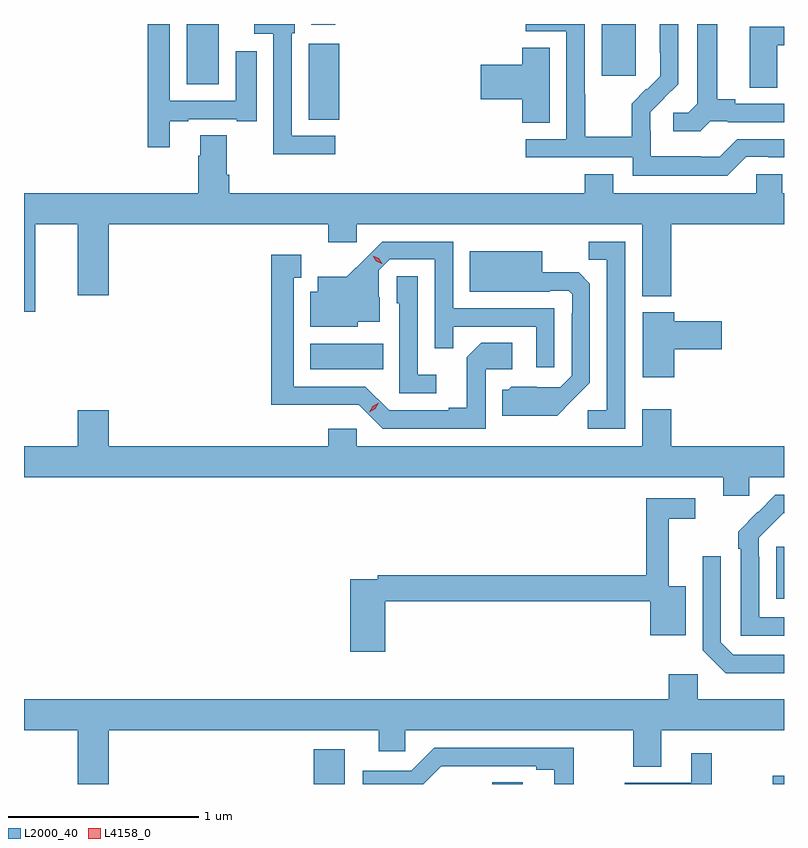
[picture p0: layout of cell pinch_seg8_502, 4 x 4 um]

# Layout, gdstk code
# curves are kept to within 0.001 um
import gdstk
lib = gdstk.Library(unit=1e-6, precision=1e-09)
def R(c, l, rs):  # rectangles x0, y0, x1, y1
    for r in rs: c.add(gdstk.rectangle(r[:2], r[2:], *l))
def P(c, l, *ps):  # polygons
    for p in ps: c.add(gdstk.Polygon(p, *l))
L2000_40 = (2000, 40)
L4158_0 = (4158, 0)

pinch_seg8_502 = lib.new_cell('pinch_seg8_502')
R(pinch_seg8_502, L2000_40, [(202.214,1113.554,202.378,1113.736), (203.154,1113.554,203.314,1113.563), (204.63,1113.554,204.689,1113.598), (204.647,1114.529,204.689,1114.804), (202.196,1115.738,202.58,1115.872), (202.187,1117.051,202.349,1117.45), (201.545,1117.238,201.715,1117.554), (203.729,1117.281,203.908,1117.554), (202.202,1117.551,202.328,1117.554)])
P(pinch_seg8_502, L2000_40, [(204.3,1117.041),(204.394,1117.041),(204.394,1117.038),(204.689,1117.038),(204.689,1117.134),(204.433,1117.134),(204.433,1117.157),(204.337,1117.157),(204.337,1117.554),(204.233,1117.554),(204.233,1117.133),(204.186,1117.086),(204.105,1117.086),(204.105,1116.989),(204.248,1116.989)],
  [(204.489,1116.855),(204.605,1116.855),(204.605,1116.852),(204.689,1116.852),(204.689,1116.948),(204.444,1116.948),(204.351,1116.855),(204.251,1116.855),(204.251,1116.859),(203.988,1116.859),(203.988,1116.993),(203.986,1116.993),(203.986,1117.09),(204.132,1117.238),(204.132,1117.554),(204.036,1117.554),(204.036,1117.402),(204.038,1117.402),(204.038,1117.28),(203.967,1117.209),(203.964,1117.212),(203.887,1117.135),(203.887,1116.961),(203.643,1116.961),(203.643,1117.184),(203.64,1117.184),(203.64,1117.554),(203.331,1117.554),(203.331,1117.515),(203.544,1117.515),(203.544,1116.948),(203.331,1116.948),(203.331,1116.852),(203.892,1116.852),(203.892,1116.755),(204.389,1116.755)],
  [(202.327,1116.966),(202.098,1116.966),(202.098,1117.506),(202.114,1117.506),(202.114,1117.554),(201.902,1117.554),(201.902,1117.502),(202.002,1117.502),(202.002,1116.869),(202.327,1116.869)],
  [(201.457,1117.041),(201.553,1117.041),(201.553,1117.053),(201.809,1117.053),(201.809,1117.041),(201.913,1117.041),(201.913,1117.411),(201.803,1117.411),(201.803,1117.149),(201.456,1117.149),(201.456,1117.554),(201.34,1117.554),(201.34,1116.906),(201.457,1116.906)],
  [(204.654,1117.443),(204.689,1117.443),(204.689,1117.539),(204.509,1117.539),(204.509,1117.219),(204.654,1117.219)],
  [(203.455,1117.43),(203.312,1117.43),(203.312,1117.34),(203.094,1117.34),(203.094,1117.157),(203.312,1117.157),(203.312,1117.033),(203.455,1117.033)],
  [(200.749,1116.5),(200.972,1116.5),(200.972,1116.126),(201.136,1116.126),(201.136,1116.5),(202.289,1116.5),(202.289,1116.405),(202.44,1116.405),(202.44,1116.5),(203.942,1116.5),(203.942,1116.122),(204.095,1116.122),(204.095,1116.5),(204.689,1116.5),(204.689,1116.664),(204.681,1116.664),(204.681,1116.762),(204.543,1116.762),(204.543,1116.664),(203.791,1116.664),(203.791,1116.763),(203.639,1116.763),(203.639,1116.664),(201.77,1116.664),(201.77,1116.76),(201.757,1116.76),(201.757,1116.968),(201.617,1116.968),(201.617,1116.86),(201.605,1116.86),(201.605,1116.664),(200.689,1116.664),(200.689,1116.039),(200.749,1116.039)],
  [(203.481,1116.057),(202.947,1116.057),(202.947,1116.408),(202.574,1116.408),(202.387,1116.223),(202.235,1116.223),(202.235,1116.145),(202.196,1116.145),(202.196,1115.96),(202.446,1115.96),(202.446,1115.987),(202.561,1115.987),(202.561,1116.116),(202.557,1116.116),(202.557,1116.258),(202.614,1116.315),(202.851,1116.315),(202.851,1115.848),(202.949,1115.848),(202.949,1115.961),(203.385,1115.961),(203.385,1115.748),(203.481,1115.748)],
  [(203.853,1116.408),(203.662,1116.408),(203.662,1116.313),(203.757,1116.313),(203.757,1115.52),(203.655,1115.52),(203.655,1115.424),(203.853,1115.424)],
  [(203.575,1115.573),(203.667,1115.666),(203.667,1116.188),(203.608,1116.247),(203.416,1116.247),(203.416,1116.358),(203.036,1116.358),(203.036,1116.146),(203.456,1116.146),(203.456,1116.15),(203.556,1116.15),(203.574,1116.132),(203.574,1116.032),(203.571,1116.032),(203.571,1115.703),(203.511,1115.643),(203.254,1115.644),(203.238,1115.628),(203.207,1115.628),(203.207,1115.492),(203.495,1115.492)],
  [(203.118,1115.736),(203.26,1115.736),(203.26,1115.876),(203.095,1115.876),(203.019,1115.8),(203.019,1115.533),(202.925,1115.533),(202.925,1115.52),(202.611,1115.52),(202.485,1115.646),(202.108,1115.646),(202.108,1116.219),(202.147,1116.219),(202.147,1116.34),(201.99,1116.34),(201.99,1115.549),(202.452,1115.55),(202.578,1115.424),(203.118,1115.424)],
  [(202.858,1115.707),(202.761,1115.707),(202.761,1116.227),(202.65,1116.227),(202.65,1116.084),(202.665,1116.084),(202.665,1115.61),(202.858,1115.61)],
  [(204.112,1115.843),(204.361,1115.843),(204.361,1115.99),(204.112,1115.99),(204.112,1116.037),(203.945,1116.037),(203.945,1115.694),(204.112,1115.694)],
  [(204.507,1115.168),(204.689,1115.168),(204.689,1115.332),(204.095,1115.332),(204.095,1115.527),(203.942,1115.527),(203.942,1115.332),(202.44,1115.332),(202.44,1115.425),(202.289,1115.425),(202.289,1115.332),(201.136,1115.332),(201.136,1115.521),(200.972,1115.521),(200.972,1115.332),(200.689,1115.332),(200.689,1115.168),(204.368,1115.168),(204.368,1115.07),(204.507,1115.07)],
  [(204.689,1114.431),(204.558,1114.431),(204.558,1114.751),(204.555,1114.751),(204.555,1114.851),(204.684,1114.98),(204.689,1114.98),(204.689,1115.076),(204.644,1115.076),(204.447,1114.881),(204.447,1114.793),(204.462,1114.793),(204.462,1114.335),(204.689,1114.335)],
  [(202.589,1114.516),(203.985,1114.516),(203.985,1114.337),(204.172,1114.337),(204.172,1114.594),(204.083,1114.594),(204.083,1114.95),(204.223,1114.95),(204.223,1115.058),(203.965,1115.058),(203.965,1114.652),(202.552,1114.652),(202.552,1114.632),(202.406,1114.632),(202.406,1114.251),(202.589,1114.251)],
  [(204.689,1114.233),(204.423,1114.233),(204.357,1114.299),(204.357,1114.753),(204.261,1114.753),(204.261,1114.257),(204.382,1114.136),(204.689,1114.136)],
  [(201.136,1113.836),(202.556,1113.836),(202.556,1113.726),(202.695,1113.726),(202.695,1113.836),(203.896,1113.836),(203.896,1113.646),(204.043,1113.646),(204.043,1113.836),(204.689,1113.836),(204.689,1114),(204.234,1114),(204.234,1114.132),(204.083,1114.132),(204.083,1114),(200.689,1114),(200.689,1113.836),(200.972,1113.836),(200.972,1113.554),(201.136,1113.554)],
  [(202.884,1113.648),(203.384,1113.648),(203.384,1113.628),(203.48,1113.628),(203.48,1113.554),(203.582,1113.554),(203.582,1113.744),(202.848,1113.744),(202.728,1113.624),(202.473,1113.624),(202.473,1113.554),(202.79,1113.554)],
  [(204.31,1113.715),(204.2,1113.715),(204.2,1113.561),(203.851,1113.561),(203.851,1113.554),(204.31,1113.554)])
P(pinch_seg8_502, L4158_0, [(202.573,1116.291),(202.542,1116.306),(202.524,1116.335),(202.524,1116.335),(202.525,1116.335),(202.556,1116.32),(202.574,1116.291),(202.574,1116.291)],
  [(202.506,1115.51),(202.506,1115.51),(202.524,1115.543),(202.556,1115.561),(202.556,1115.561),(202.556,1115.561),(202.538,1115.529),(202.507,1115.51)])

lib.write_gds('pinch_seg8_502.gds')
